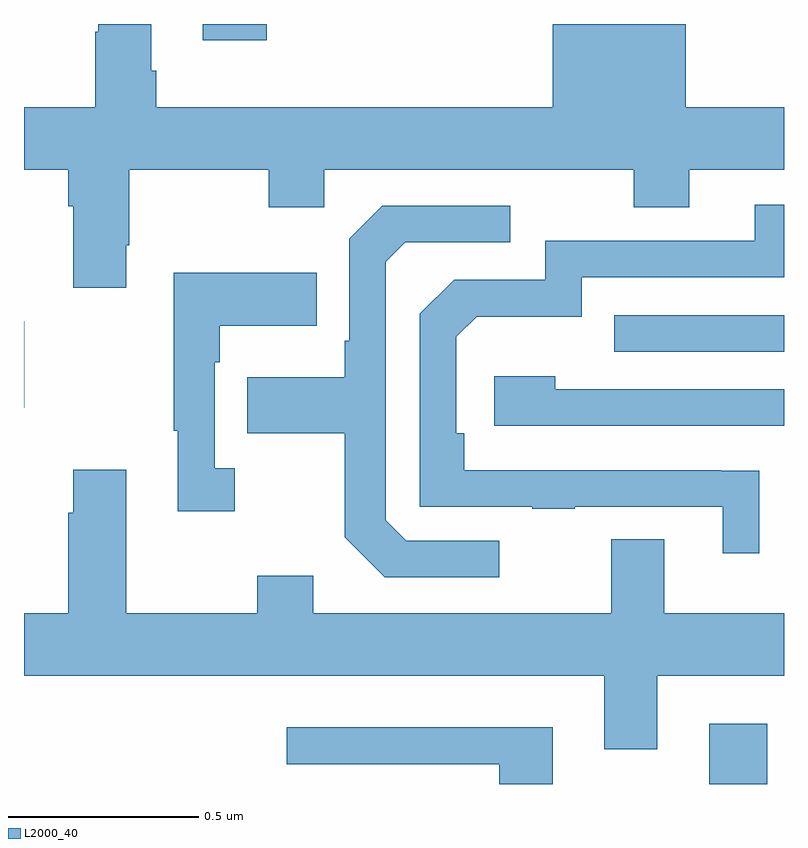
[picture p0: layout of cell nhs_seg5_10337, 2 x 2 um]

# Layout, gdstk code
import gdstk
lib = gdstk.Library(unit=1e-6, precision=1e-09)
def R(c, l, rs):  # rectangles x0, y0, x1, y1
    for r in rs: c.add(gdstk.rectangle(r[:2], r[2:], *l))
def P(c, l, *ps):  # polygons
    for p in ps: c.add(gdstk.Polygon(p, *l))
L2000_40 = (2000, 40)

nhs_seg5_10337 = lib.new_cell('nhs_seg5_10337')
R(nhs_seg5_10337, L2000_40, [(246.803,865.799,246.956,865.957), (245,866.789,245.001,867.017), (246.553,866.937,247,867.033), (245.471,867.756,245.639,867.799)])
P(nhs_seg5_10337, L2000_40, [(245.269,867.217),(245.277,867.217),(245.277,867.416),(245.644,867.416),(245.644,867.317),(245.79,867.317),(245.79,867.416),(246.604,867.416),(246.604,867.317),(246.751,867.317),(246.751,867.416),(247,867.416),(247,867.58),(246.742,867.58),(246.742,867.799),(246.392,867.799),(246.392,867.58),(245.348,867.58),(245.348,867.676),(245.335,867.676),(245.335,867.799),(245.195,867.799),(245.195,867.779),(245.188,867.779),(245.188,867.58),(245,867.58),(245,867.416),(245.117,867.416),(245.117,867.32),(245.129,867.32),(245.129,867.105),(245.269,867.105)],
  [(246.935,866.624),(246.833,866.624),(246.833,866.625),(246.158,866.625),(246.158,866.722),(246.138,866.722),(246.138,866.976),(246.191,867.029),(246.468,867.029),(246.468,867.132),(247,867.132),(247,867.324),(246.923,867.324),(246.923,867.228),(246.372,867.228),(246.372,867.126),(246.132,867.126),(246.042,867.036),(246.042,866.529),(246.337,866.529),(246.337,866.524),(246.449,866.524),(246.449,866.529),(246.839,866.529),(246.839,866.406),(246.935,866.406)],
  [(246.25,866.439),(246.006,866.439),(245.952,866.493),(245.952,867.174),(246.003,867.225),(246.28,867.225),(246.28,867.321),(245.943,867.321),(245.856,867.234),(245.856,866.965),(245.844,866.965),(245.844,866.869),(245.587,866.869),(245.587,866.722),(245.844,866.722),(245.844,866.449),(245.949,866.343),(246.25,866.343)],
  [(245.554,866.63),(245.502,866.63),(245.502,866.909),(245.515,866.909),(245.515,867.005),(245.771,867.005),(245.771,867.145),(245.394,867.145),(245.394,866.729),(245.405,866.729),(245.405,866.517),(245.554,866.517)],
  [(247,866.838),(246.398,866.838),(246.398,866.872),(246.237,866.872),(246.237,866.742),(247,866.742)],
  [(246.667,866.084),(247,866.084),(247,866.248),(246.685,866.248),(246.685,866.443),(246.545,866.443),(246.545,866.248),(245.761,866.248),(245.761,866.347),(245.614,866.347),(245.614,866.248),(245.269,866.248),(245.269,866.626),(245.129,866.626),(245.129,866.513),(245.117,866.513),(245.117,866.248),(245,866.248),(245,866.084),(246.527,866.084),(246.527,865.89),(246.667,865.89)],
  [(246.391,865.948),(245.691,865.948),(245.691,865.851),(246.251,865.851),(246.251,865.799),(246.391,865.799)])

lib.write_gds('nhs_seg5_10337.gds')
